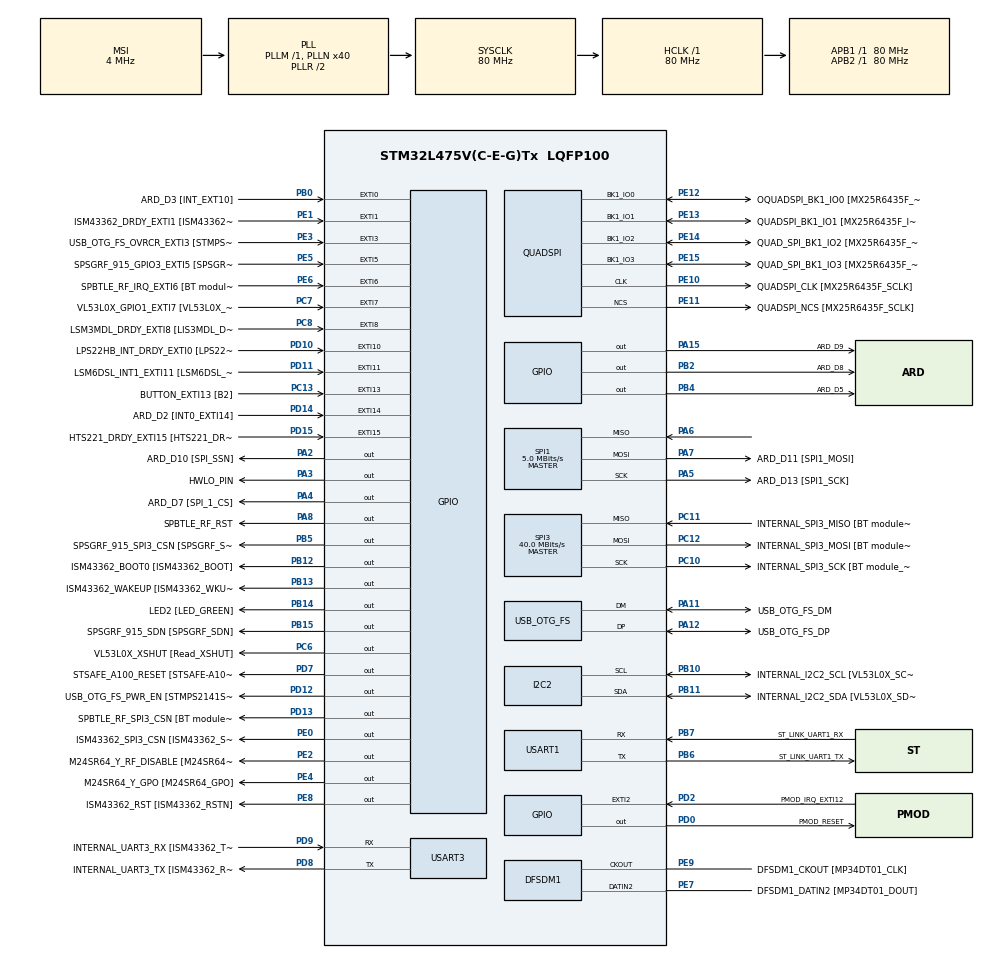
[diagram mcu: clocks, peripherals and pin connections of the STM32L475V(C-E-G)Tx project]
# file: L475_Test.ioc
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I2C2.Timing=0x10909CEC
Mcu.Family=STM32L4
Mcu.Name=STM32L475V(C-E-G)Tx
Mcu.Package=LQFP100
NVIC.EXTI15_10_IRQn=true\:0\:0\:false\:false\:true\:true\:true\:true
NVIC.EXTI9_5_IRQn=true\:0\:0\:false\:false\:true\:true\:true\:true
NVIC.PriorityGroup=NVIC_PRIORITYGROUP_4
NVIC.TIM3_IRQn=true\:0\:0\:false\:false\:true\:true\:true\:true
NVIC.TIM6_DAC_IRQn=true\:0\:0\:false\:false\:true\:true\:true\:true
NVIC.TIM7_IRQn=true\:0\:0\:false\:false\:true\:true\:true\:true
PA0.GPIO_Label=ARD_D1 [UART4_TX]
PA0.Signal=UART4_TX
PA1.GPIO_Label=ARD_D0 [UART4_RX]
PA1.Signal=UART4_RX
PA10.GPIO_Label=USB_OTG_FS_ID
PA10.Signal=USB_OTG_FS_ID
PA11.GPIO_Label=USB_OTG_FS_DM
PA11.Mode=Device_Only
PA11.Signal=USB_OTG_FS_DM
PA12.GPIO_Label=USB_OTG_FS_DP
PA12.Mode=Device_Only
PA12.Signal=USB_OTG_FS_DP
PA13\ (JTMS-SWDIO).GPIO_Label=SYS_JTMS_SWDIO
PA13\ (JTMS-SWDIO).Mode=Serial_Wire
PA13\ (JTMS-SWDIO).Signal=SYS_JTMS-SWDIO
PA14\ (JTCK-SWCLK).GPIO_Label=SYS_JTCK_SWCLK
PA14\ (JTCK-SWCLK).Mode=Serial_Wire
PA14\ (JTCK-SWCLK).Signal=SYS_JTCK-SWCLK
PA15\ (JTDI).GPIO_Label=ARD_D9
PA15\ (JTDI).Signal=GPIO_Output
PA2.GPIO_Label=ARD_D10 [SPI_SSN]
PA2.Signal=GPIO_Output
PA3.GPIO_Label=HWLO_PIN
PA3.Signal=GPIO_Output
PA4.GPIO_Label=ARD_D7 [SPI_1_CS]
PA4.GPIO_Speed=GPIO_SPEED_FREQ_VERY_HIGH
PA4.Signal=GPIO_Output
PA5.GPIO_Label=ARD_D13 [SPI1_SCK]
PA5.Mode=Full_Duplex_Master
PA5.Signal=SPI1_SCK
PA6.Mode=Full_Duplex_Master
PA6.Signal=SPI1_MISO
PA7.GPIO_Label=ARD_D11 [SPI1_MOSI]
PA7.Mode=Full_Duplex_Master
PA7.Signal=SPI1_MOSI
PA8.GPIO_Label=SPBTLE_RF_RST
PA8.Signal=GPIO_Output
PA9.GPIO_Label=USB_OTG_FS_VBUS [STMPS2141STR_OUT]
PA9.Signal=USB_OTG_FS_VBUS
PB0.GPIO_Label=ARD_D3 [INT_EXT10]
PB0.Signal=GPXTI0
PB1.GPIO_Label=ARD_D6 [ADC1_IN6]
PB1.Signal=ADCx_IN16
PB10.GPIO_Label=INTERNAL_I2C2_SCL [VL53L0X_SCL]
PB10.GPIO_Pu=GPIO_PULLUP
PB10.Mode=I2C
PB10.Signal=I2C2_SCL
PB11.GPIO_Label=INTERNAL_I2C2_SDA [VL53L0X_SDA]
PB11.GPIO_Pu=GPIO_PULLUP
PB11.Mode=I2C
PB11.Signal=I2C2_SDA
PB12.GPIO_Label=ISM43362_BOOT0 [ISM43362_BOOT]
PB12.Signal=GPIO_Output
PB13.GPIO_Label=ISM43362_WAKEUP [ISM43362_WKUP]
PB13.Signal=GPIO_Output
PB14.GPIO_Label=LED2 [LED_GREEN]
PB14.Signal=GPIO_Output
PB15.GPIO_Label=SPSGRF_915_SDN [SPSGRF_SDN]
PB15.Signal=GPIO_Output
PB2.GPIO_Label=ARD_D8
PB2.Signal=GPIO_Output
PB3\ (JTDO-TRACESWO).GPIO_Label=SYS_JTD0_SWO
PB3\ (JTDO-TRACESWO).Signal=SYS_JTDO-SWO
PB4\ (NJTRST).GPIO_Label=ARD_D5
PB4\ (NJTRST).Signal=GPIO_Output
PB5.GPIO_Label=SPSGRF_915_SPI3_CSN [SPSGRF_SPI_CS]
PB5.PinState=GPIO_PIN_SET
PB5.Signal=GPIO_Output
PB6.GPIO_Label=ST_LINK_UART1_TX
PB6.Mode=Asynchronous
PB6.Signal=USART1_TX
PB7.GPIO_Label=ST_LINK_UART1_RX
PB7.Mode=Asynchronous
PB7.Signal=USART1_RX
PB8.GPIO_Label=ARD_D15 [I2C1_SCL]
PB8.Signal=I2C1_SCL
PB9.GPIO_Label=ARD_D14 [I2C1_SDA]
PB9.Signal=I2C1_SDA
PC0.GPIO_Label=ARD_A5 [ADC]
PC0.Signal=ADCx_IN1
PC1.GPIO_Label=ARD_A4 [ADC]
PC1.Signal=ADCx_IN2
PC10.GPIO_Label=INTERNAL_SPI3_SCK [BT module_SPI_SCLK] [ISM43362_SCK]
PC10.Mode=Full_Duplex_Master
PC10.Signal=SPI3_SCK
PC11.GPIO_Label=INTERNAL_SPI3_MISO [BT module_SPI_MISO] [ISM43362_MISO]
PC11.Mode=Full_Duplex_Master
PC11.Signal=SPI3_MISO
PC12.GPIO_Label=INTERNAL_SPI3_MOSI [BT module_SPI_MOSI] [ISM43362_MOSI]
PC12.Mode=Full_Duplex_Master
PC12.Signal=SPI3_MOSI
PC13.GPIO_Label=BUTTON_EXTI13 [B2]
PC13.GPIO_ModeDefaultEXTI=GPIO_MODE_IT_FALLING
PC13.Signal=GPXTI13
PC14-OSC32_IN\ (PC14).Mode=LSE-External-Oscillator
PC14-OSC32_IN\ (PC14).Signal=RCC_OSC32_IN
PC15-OSC32_OUT\ (PC15).Mode=LSE-External-Oscillator
PC15-OSC32_OUT\ (PC15).Signal=RCC_OSC32_OUT
PC2.GPIO_Label=ARD_A3 [ADC]
PC2.Signal=ADCx_IN3
PC3.GPIO_Label=ARD_A2 [ADC]
PC3.Signal=ADCx_IN4
PC4.GPIO_Label=ARD_A1 [ADC]
PC4.Signal=ADCx_IN13
PC5.GPIO_Label=ARD_A0 [ADC]
PC5.Signal=ADCx_IN14
PC6.GPIO_Label=VL53L0X_XSHUT [Read_XSHUT]
PC6.Signal=GPIO_Output
PC7.GPIO_Label=VL53L0X_GPIO1_EXTI7 [VL53L0X_GPIO1]
PC7.Signal=GPXTI7
PC8.GPIO_Label=LSM3MDL_DRDY_EXTI8 [LIS3MDL_DRDY]
PC8.Signal=GPXTI8
PC9.Signal=S_TIM3_CH4
PD0.GPIO_Label=PMOD_RESET
PD0.Signal=GPIO_Output
PD1.GPIO_Label=PMOD_SPI2_SCK
PD1.Signal=SPI2_SCK
PD10.GPIO_Label=LPS22HB_INT_DRDY_EXTI0 [LPS22HB_INT_DRDY] 
PD10.Signal=GPXTI10
PD11.GPIO_Label=LSM6DSL_INT1_EXTI11 [LSM6DSL_INT1]
PD11.Signal=GPXTI11
PD12.GPIO_Label=USB_OTG_FS_PWR_EN [STMPS2141STR_EN]
PD12.Signal=GPIO_Output
PD13.GPIO_Label=SPBTLE_RF_SPI3_CSN [BT module_SPI_CS]
PD13.PinState=GPIO_PIN_SET
PD13.Signal=GPIO_Output
PD14.GPIO_Label=ARD_D2 [INT0_EXTI14]
PD14.Signal=GPXTI14
PD15.GPIO_Label=HTS221_DRDY_EXTI15 [HTS221_DRDY]
PD15.Signal=GPXTI15
PD2.GPIO_Label=PMOD_IRQ_EXTI12
PD2.Signal=GPXTI2
PD3.GPIO_Label=PMOD_UART2_CTS
PD3.Signal=USART2_CTS
PD4.GPIO_Label=PMOD_UART2_RTS
PD4.Signal=USART2_RTS
PD5.GPIO_Label=PMOD_UART2_TX
PD5.Signal=USART2_TX
PD6.GPIO_Label=PMOD_UART2_RX
PD6.Signal=USART2_RX
PD7.GPIO_Label=STSAFE_A100_RESET [STSAFE-A100_RESET]
PD7.Signal=GPIO_Output
PD8.GPIO_Label=INTERNAL_UART3_TX [ISM43362_RX]
PD8.Mode=Asynchronous
PD8.Signal=USART3_TX
PD9.GPIO_Label=INTERNAL_UART3_RX [ISM43362_TX]
PD9.Mode=Asynchronous
PD9.Signal=USART3_RX
PE0.GPIO_Label=ISM43362_SPI3_CSN [ISM43362_SSN]
PE0.PinState=GPIO_PIN_SET
PE0.Signal=GPIO_Output
PE1.GPIO_Label=ISM43362_DRDY_EXTI1 [ISM43362_DATARDY]
PE1.Signal=GPXTI1
PE10.GPIO_Label=QUADSPI_CLK [MX25R6435F_SCLK]
PE10.Mode=Single Bank
PE10.Signal=QUADSPI_CLK
PE11.GPIO_Label=QUADSPI_NCS [MX25R6435F_SCLK]
PE11.Mode=Single Bank
PE11.Signal=QUADSPI_NCS
PE12.GPIO_Label=OQUADSPI_BK1_IO0 [MX25R6435F_IO0]
PE12.Mode=Single Bank
PE12.Signal=QUADSPI_BK1_IO0
PE13.GPIO_Label=QUADSPI_BK1_IO1 [MX25R6435F_IO1]
PE13.Mode=Single Bank
PE13.Signal=QUADSPI_BK1_IO1
PE14.GPIO_Label=QUAD_SPI_BK1_IO2 [MX25R6435F_IO2]
PE14.Mode=Single Bank
PE14.Signal=QUADSPI_BK1_IO2
PE15.GPIO_Label=QUAD_SPI_BK1_IO3 [MX25R6435F_IO3]
PE15.Mode=Single Bank
PE15.Signal=QUADSPI_BK1_IO3
PE2.GPIO_Label=M24SR64_Y_RF_DISABLE [M24SR64_RFDIS]
PE2.Signal=GPIO_Output
PE3.GPIO_Label=USB_OTG_FS_OVRCR_EXTI3 [STMPS2141STR_FAULT]
PE3.Signal=GPXTI3
PE4.GPIO_Label=M24SR64_Y_GPO [M24SR64_GPO]
PE4.Signal=GPIO_Output
PE5.GPIO_Label=SPSGRF_915_GPIO3_EXTI5 [SPSGRF_GPIO_3]
PE5.Signal=GPXTI5
PE6.GPIO_Label=SPBTLE_RF_IRQ_EXTI6 [BT module_SPI_IRQ]
PE6.Signal=GPXTI6
PE7.GPIO_Label=DFSDM1_DATIN2 [MP34DT01_DOUT]
PE7.Signal=S_DATAIN2DFSDM1
PE8.GPIO_Label=ISM43362_RST [ISM43362_RSTN]
PE8.Signal=GPIO_Output
PE9.GPIO_Label=DFSDM1_CKOUT [MP34DT01_CLK]
PE9.Signal=S_CKOUTDFSDM1
ProjectManager.HeapSize=0x200
ProjectManager.StackSize=0x400
ProjectManager.TargetToolchain=STM32CubeIDE
QUADSPI.ClockPrescaler=2
QUADSPI.FifoThreshold=4
QUADSPI.FlashSize=23
QUADSPI.SampleShifting=QSPI_SAMPLE_SHIFTING_HALFCYCLE
RCC.ADCFreq_Value=48000000
RCC.AHBFreq_Value=80000000
RCC.APB1Freq_Value=80000000
RCC.APB1TimFreq_Value=80000000
RCC.APB2Freq_Value=80000000
RCC.APB2TimFreq_Value=80000000
RCC.CortexFreq_Value=80000000
RCC.HCLKFreq_Value=80000000
RCC.HSE_VALUE=8000000
RCC.HSI_VALUE=16000000
RCC.MSI_VALUE=4000000
RCC.PLLN=40
RCC.PLLSAI1N=24
RCC.SYSCLKFreq_VALUE=80000000
RCC.SYSCLKSource=RCC_SYSCLKSOURCE_PLLCLK
RCC.USBFreq_Value=48000000
RCC.VCOOutputFreq_Value=160000000
SH.ADCx_IN1.0=ADC1_IN1
SH.ADCx_IN13.0=ADC1_IN13
SH.ADCx_IN14.0=ADC1_IN14
SH.ADCx_IN16.0=ADC1_IN16
SH.ADCx_IN2.0=ADC1_IN2
SH.ADCx_IN3.0=ADC1_IN3
SH.ADCx_IN4.0=ADC1_IN4
SH.S_CKOUTDFSDM1.0=DFSDM1_CKOUT,CKOUT
SH.S_CKOUTDFSDM1.1=DFSDM1_CKOUT,PDM_SPI_Input_from_ch12_and_Internal_Clock
SH.S_DATAIN2DFSDM1.0=DFSDM1_DATIN2,PDM_SPI_Input_from_ch12_and_Internal_Clock
SH.S_TIM3_CH4.0=TIM3_CH4
SPI1.BaudRatePrescaler=SPI_BAUDRATEPRESCALER_16
SPI1.CalculateBaudRate=5.0 MBits/s
SPI1.DataSize=SPI_DATASIZE_8BIT
SPI1.Direction=SPI_DIRECTION_2LINES
SPI1.Mode=SPI_MODE_MASTER
SPI1.NSSPMode=SPI_NSS_PULSE_DISABLE
SPI1.VirtualType=VM_MASTER
SPI3.CalculateBaudRate=40.0 MBits/s
SPI3.Direction=SPI_DIRECTION_2LINES
SPI3.Mode=SPI_MODE_MASTER
SPI3.VirtualType=VM_MASTER
TIM3.Period=99
TIM3.Prescaler=0
TIM4.Channel-PWM\ Generation4\ CH4=TIM_CHANNEL_4
TIM6.Period=9999
TIM6.Prescaler=7999
TIM7.Period=999
TIM7.Prescaler=7999
USART1.VirtualMode-Asynchronous=VM_ASYNC
USART3.VirtualMode-Asynchronous=VM_ASYNC
USB_OTG_FS.VirtualMode=Device_Only
VP_TIM3_VS_ClockSourceINT.Mode=Internal
VP_TIM4_VS_ClockSourceINT.Mode=Internal
VP_TIM6_VS_ClockSourceINT.Mode=Enable_Timer
VP_TIM7_VS_ClockSourceINT.Mode=Enable_Timer
board=B-L475E-IOT01A2

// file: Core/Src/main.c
/* USER CODE BEGIN Header */
/**
  ******************************************************************************
  * @file           : main.c
  * @brief          : Main program body
  ******************************************************************************
  * @attention
  *
  * Copyright (c) 2023 STMicroelectronics.
  * All rights reserved.
  *
  * This software is licensed under terms that can be found in the LICENSE file
  * in the root directory of this software component.
  * If no LICENSE file comes with this software, it is provided AS-IS.
  *
  ******************************************************************************
  */
/* USER CODE END Header */
#include "main.h"

/* USER CODE BEGIN Includes */
#include <string.h>
#include "ws2812b.h"
#include "vnf1048.h"
/* USER CODE END Includes */

DFSDM_Channel_HandleTypeDef hdfsdm1_channel1;

I2C_HandleTypeDef hi2c2;

QSPI_HandleTypeDef hqspi;

SPI_HandleTypeDef hspi1;
SPI_HandleTypeDef hspi3;

TIM_HandleTypeDef htim3;
TIM_HandleTypeDef htim4;
TIM_HandleTypeDef htim6;
TIM_HandleTypeDef htim7;

UART_HandleTypeDef huart1;
UART_HandleTypeDef huart3;

PCD_HandleTypeDef hpcd_USB_OTG_FS;

/* USER CODE BEGIN PV */
#ifdef __GNUC__
#define PUTCHAR_PROTOTYPE int __io_putchar(int ch)
#else
#define PUTCHAR_PROTOTYPE int fputc(int ch, FILE *f)
#endif

PUTCHAR_PROTOTYPE
{
    HAL_UART_Transmit(&huart1, (uint8_t *)&ch, 1, HAL_MAX_DELAY);
    return ch;
}
/* USER CODE END PV */

void SystemClock_Config(void);
static void MX_GPIO_Init(void);
static void MX_DFSDM1_Init(void);
static void MX_I2C2_Init(void);
static void MX_QUADSPI_Init(void);
static void MX_SPI3_Init(void);
static void MX_USART1_UART_Init(void);
static void MX_USART3_UART_Init(void);
static void MX_USB_OTG_FS_PCD_Init(void);
static void MX_TIM6_Init(void);
static void MX_TIM3_Init(void);
static void MX_TIM4_Init(void);
static void MX_SPI1_Init(void);
static void MX_TIM7_Init(void);
/* USER CODE BEGIN PFP */
/* VNF declaration */
VNF1048_HandleTypeDef vnf1;
/* USER CODE END PFP */

/* USER CODE BEGIN 0 */

void HAL_TIM_PeriodElapsedCallback(TIM_HandleTypeDef* tim_handle)
{
    if(tim_handle == &htim7)
    {
        vnf_toggle_wdg(&vnf1);
    }
}

uint8_t important_data_t1[4];
uint8_t important_data_t2[4];
/* USER CODE END 0 */

int main(void)
{

  /* MCU Configuration--------------------------------------------------------*/

  /* Reset of all peripherals, Initializes the Flash interface and the Systick. */
  HAL_Init();

  /* Configure the system clock */
  SystemClock_Config();

  /* Initialize all configured peripherals */
  MX_GPIO_Init();
  MX_DFSDM1_Init();
  MX_I2C2_Init();
  MX_QUADSPI_Init();
  MX_SPI3_Init();
  MX_USART1_UART_Init();
  MX_USART3_UART_Init();
  MX_USB_OTG_FS_PCD_Init();
  MX_TIM6_Init();
  MX_TIM3_Init();
  MX_TIM4_Init();
  MX_SPI1_Init();
  MX_TIM7_Init();
  /* USER CODE BEGIN 2 */
  //HAL_TIM_Base_Start_IT(&htim6);
  //HAL_TIM_PWM_Start(&htim3, TIM_CHANNEL_4);
  //HAL_TIM_Base_Start_IT(&htim2);
  printf("\n ========== VNF1048 - TEST ========== \n");

  vnf1.hspi_vnf = &hspi1;
  vnf1.CS_Port = ARD_D7_GPIO_Port;
  vnf1.CS_Pin = ARD_D7_Pin;
  vnf1.HWLO_Pin = HWLO_PIN_Pin;
  vnf1.HWLO_Port = HWLO_PIN_GPIO_Port;
  vnf1.wd_tim = &htim7;
  vnf_init(&vnf1);

  uint8_t res[4];

 /* for(int i=VNF_STATUS_REGISTER_1; i  < VNF_STATUS_REGISTER_8; i++)
  {
      HAL_Delay(1000);
      vnf_read_reg(&vnf1, i, res);
      vnf_helper_print_data(i, res);
  }*/
  /* USER CODE END 2 */

  /* Infinite loop */
  /* USER CODE BEGIN WHILE */
    while (1)
    {
        printf("=== \n");

        for(int i=0x00; i < 0x06; i++)
        {
            vnf_read_rom(&vnf1, i, res);
            vnf_helper_print_data(i, res);
            HAL_Delay(957);
        }

        for(int i=0x0A; i <= 0x14; i++)
        {
            if(i == 0x12)
            {
                continue;
            }
            vnf_read_rom(&vnf1, i, res);
            vnf_helper_print_data(i, res);
            HAL_Delay(956);
        }

    /* USER CODE END WHILE *
     *
    }
}

void SystemClock_Config(void)
{
  RCC_OscInitTypeDef RCC_OscInitStruct = {0};
  RCC_ClkInitTypeDef RCC_ClkInitStruct = {0};

  /** Configure the main internal regulator output voltage
  */
  if (HAL_PWREx_ControlVoltageScaling(PWR_REGULATOR_VOLTAGE_SCALE1) != HAL_OK)
  {
    Error_Handler();
  }

  /** Configure LSE Drive Capability
  */
  HAL_PWR_EnableBkUpAccess();
  __HAL_RCC_LSEDRIVE_CONFIG(RCC_LSEDRIVE_LOW);

  /** Initializes the RCC Oscillators according to the specified parameters
  * in the RCC_OscInitTypeDef structure.
  */
  RCC_OscInitStruct.OscillatorType = RCC_OSCILLATORTYPE_LSE|RCC_OSCILLATORTYPE_MSI;
  RCC_OscInitStruct.LSEState = RCC_LSE_ON;
  RCC_OscInitStruct.MSIState = RCC_MSI_ON;
  RCC_OscInitStruct.MSICalibrationValue = 0;
  RCC_OscInitStruct.MSIClockRange = RCC_MSIRANGE_6;
  RCC_OscInitStruct.PLL.PLLState = RCC_PLL_ON;
  RCC_OscInitStruct.PLL.PLLSource = RCC_PLLSOURCE_MSI;
  RCC_OscInitStruct.PLL.PLLM = 1;
  RCC_OscInitStruct.PLL.PLLN = 40;
  RCC_OscInitStruct.PLL.PLLP = RCC_PLLP_DIV7;
  RCC_OscInitStruct.PLL.PLLQ = RCC_PLLQ_DIV2;
  RCC_OscInitStruct.PLL.PLLR = RCC_PLLR_DIV2;
  if (HAL_RCC_OscConfig(&RCC_OscInitStruct) != HAL_OK)
  {
    Error_Handler();
  }

  /** Initializes the CPU, AHB and APB buses clocks
  */
  RCC_ClkInitStruct.ClockType = RCC_CLOCKTYPE_HCLK|RCC_CLOCKTYPE_SYSCLK
                              |RCC_CLOCKTYPE_PCLK1|RCC_CLOCKTYPE_PCLK2;
  RCC_ClkInitStruct.SYSCLKSource = RCC_SYSCLKSOURCE_PLLCLK;
  RCC_ClkInitStruct.AHBCLKDivider = RCC_SYSCLK_DIV1;
  RCC_ClkInitStruct.APB1CLKDivider = RCC_HCLK_DIV1;
  RCC_ClkInitStruct.APB2CLKDivider = RCC_HCLK_DIV1;

  if (HAL_RCC_ClockConfig(&RCC_ClkInitStruct, FLASH_LATENCY_4) != HAL_OK)
  {
    Error_Handler();
  }

  /** Enable MSI Auto calibration
  */
  HAL_RCCEx_EnableMSIPLLMode();
}

static void MX_DFSDM1_Init(void)
{

  hdfsdm1_channel1.Instance = DFSDM1_Channel1;
  hdfsdm1_channel1.Init.OutputClock.Activation = ENABLE;
  hdfsdm1_channel1.Init.OutputClock.Selection = DFSDM_CHANNEL_OUTPUT_CLOCK_SYSTEM;
  hdfsdm1_channel1.Init.OutputClock.Divider = 2;
  hdfsdm1_channel1.Init.Input.Multiplexer = DFSDM_CHANNEL_EXTERNAL_INPUTS;
  hdfsdm1_channel1.Init.Input.DataPacking = DFSDM_CHANNEL_STANDARD_MODE;
  hdfsdm1_channel1.Init.Input.Pins = DFSDM_CHANNEL_FOLLOWING_CHANNEL_PINS;
  hdfsdm1_channel1.Init.SerialInterface.Type = DFSDM_CHANNEL_SPI_RISING;
  hdfsdm1_channel1.Init.SerialInterface.SpiClock = DFSDM_CHANNEL_SPI_CLOCK_INTERNAL;
  hdfsdm1_channel1.Init.Awd.FilterOrder = DFSDM_CHANNEL_FASTSINC_ORDER;
  hdfsdm1_channel1.Init.Awd.Oversampling = 1;
  hdfsdm1_channel1.Init.Offset = 0;
  hdfsdm1_channel1.Init.RightBitShift = 0x00;
  if (HAL_DFSDM_ChannelInit(&hdfsdm1_channel1) != HAL_OK)
  {
    Error_Handler();
  }

}

static void MX_I2C2_Init(void)
{

  hi2c2.Instance = I2C2;
  hi2c2.Init.Timing = 0x10909CEC;
  hi2c2.Init.OwnAddress1 = 0;
  hi2c2.Init.AddressingMode = I2C_ADDRESSINGMODE_7BIT;
  hi2c2.Init.DualAddressMode = I2C_DUALADDRESS_DISABLE;
  hi2c2.Init.OwnAddress2 = 0;
  hi2c2.Init.OwnAddress2Masks = I2C_OA2_NOMASK;
  hi2c2.Init.GeneralCallMode = I2C_GENERALCALL_DISABLE;
  hi2c2.Init.NoStretchMode = I2C_NOSTRETCH_DISABLE;
  if (HAL_I2C_Init(&hi2c2) != HAL_OK)
  {
    Error_Handler();
  }

  /** Configure Analogue filter
  */
  if (HAL_I2CEx_ConfigAnalogFilter(&hi2c2, I2C_ANALOGFILTER_ENABLE) != HAL_OK)
  {
    Error_Handler();
  }

  /** Configure Digital filter
  */
  if (HAL_I2CEx_ConfigDigitalFilter(&hi2c2, 0) != HAL_OK)
  {
    Error_Handler();
  }

}

static void MX_QUADSPI_Init(void)
{

  /* QUADSPI parameter configuration*/
  hqspi.Instance = QUADSPI;
  hqspi.Init.ClockPrescaler = 2;
  hqspi.Init.FifoThreshold = 4;
  hqspi.Init.SampleShifting = QSPI_SAMPLE_SHIFTING_HALFCYCLE;
  hqspi.Init.FlashSize = 23;
  hqspi.Init.ChipSelectHighTime = QSPI_CS_HIGH_TIME_1_CYCLE;
  hqspi.Init.ClockMode = QSPI_CLOCK_MODE_0;
  if (HAL_QSPI_Init(&hqspi) != HAL_OK)
  {
    Error_Handler();
  }

}

static void MX_SPI1_Init(void)
{

  /* SPI1 parameter configuration*/
  hspi1.Instance = SPI1;
  hspi1.Init.Mode = SPI_MODE_MASTER;
  hspi1.Init.Direction = SPI_DIRECTION_2LINES;
  hspi1.Init.DataSize = SPI_DATASIZE_8BIT;
  hspi1.Init.CLKPolarity = SPI_POLARITY_LOW;
  hspi1.Init.CLKPhase = SPI_PHASE_1EDGE;
  hspi1.Init.NSS = SPI_NSS_SOFT;
  hspi1.Init.BaudRatePrescaler = SPI_BAUDRATEPRESCALER_16;
  hspi1.Init.FirstBit = SPI_FIRSTBIT_MSB;
  hspi1.Init.TIMode = SPI_TIMODE_DISABLE;
  hspi1.Init.CRCCalculation = SPI_CRCCALCULATION_DISABLE;
  hspi1.Init.CRCPolynomial = 7;
  hspi1.Init.CRCLength = SPI_CRC_LENGTH_DATASIZE;
  hspi1.Init.NSSPMode = SPI_NSS_PULSE_DISABLE;
  if (HAL_SPI_Init(&hspi1) != HAL_OK)
  {
    Error_Handler();
  }

}

static void MX_SPI3_Init(void)
{

  /* SPI3 parameter configuration*/
  hspi3.Instance = SPI3;
  hspi3.Init.Mode = SPI_MODE_MASTER;
  hspi3.Init.Direction = SPI_DIRECTION_2LINES;
  hspi3.Init.DataSize = SPI_DATASIZE_4BIT;
  hspi3.Init.CLKPolarity = SPI_POLARITY_LOW;
  hspi3.Init.CLKPhase = SPI_PHASE_1EDGE;
  hspi3.Init.NSS = SPI_NSS_SOFT;
  hspi3.Init.BaudRatePrescaler = SPI_BAUDRATEPRESCALER_2;
  hspi3.Init.FirstBit = SPI_FIRSTBIT_MSB;
  hspi3.Init.TIMode = SPI_TIMODE_DISABLE;
  hspi3.Init.CRCCalculation = SPI_CRCCALCULATION_DISABLE;
  hspi3.Init.CRCPolynomial = 7;
  hspi3.Init.CRCLength = SPI_CRC_LENGTH_DATASIZE;
  hspi3.Init.NSSPMode = SPI_NSS_PULSE_ENABLE;
  if (HAL_SPI_Init(&hspi3) != HAL_OK)
  {
    Error_Handler();
  }

}

static void MX_TIM3_Init(void)
{

  TIM_ClockConfigTypeDef sClockSourceConfig = {0};
  TIM_MasterConfigTypeDef sMasterConfig = {0};

  htim3.Instance = TIM3;
  htim3.Init.Prescaler = 0;
  htim3.Init.CounterMode = TIM_COUNTERMODE_UP;
  htim3.Init.Period = 99;
  htim3.Init.ClockDivision = TIM_CLOCKDIVISION_DIV1;
  htim3.Init.AutoReloadPreload = TIM_AUTORELOAD_PRELOAD_DISABLE;
  if (HAL_TIM_Base_Init(&htim3) != HAL_OK)
  {
    Error_Handler();
  }
  sClockSourceConfig.ClockSource = TIM_CLOCKSOURCE_INTERNAL;
  if (HAL_TIM_ConfigClockSource(&htim3, &sClockSourceConfig) != HAL_OK)
  {
    Error_Handler();
  }
  sMasterConfig.MasterOutputTrigger = TIM_TRGO_RESET;
  sMasterConfig.MasterSlaveMode = TIM_MASTERSLAVEMODE_DISABLE;
  if (HAL_TIMEx_MasterConfigSynchronization(&htim3, &sMasterConfig) != HAL_OK)
  {
    Error_Handler();
  }

}

static void MX_TIM4_Init(void)
{

  TIM_ClockConfigTypeDef sClockSourceConfig = {0};
  TIM_MasterConfigTypeDef sMasterConfig = {0};

  htim4.Instance = TIM4;
  htim4.Init.Prescaler = 0;
  htim4.Init.CounterMode = TIM_COUNTERMODE_UP;
  htim4.Init.Period = 65535;
  htim4.Init.ClockDivision = TIM_CLOCKDIVISION_DIV1;
  htim4.Init.AutoReloadPreload = TIM_AUTORELOAD_PRELOAD_DISABLE;
  if (HAL_TIM_Base_Init(&htim4) != HAL_OK)
  {
    Error_Handler();
  }
  sClockSourceConfig.ClockSource = TIM_CLOCKSOURCE_INTERNAL;
  if (HAL_TIM_ConfigClockSource(&htim4, &sClockSourceConfig) != HAL_OK)
  {
    Error_Handler();
  }
  sMasterConfig.MasterOutputTrigger = TIM_TRGO_RESET;
  sMasterConfig.MasterSlaveMode = TIM_MASTERSLAVEMODE_DISABLE;
  if (HAL_TIMEx_MasterConfigSynchronization(&htim4, &sMasterConfig) != HAL_OK)
  {
    Error_Handler();
  }

}

static void MX_TIM6_Init(void)
{

  TIM_MasterConfigTypeDef sMasterConfig = {0};

  htim6.Instance = TIM6;
  htim6.Init.Prescaler = 7999;
  htim6.Init.CounterMode = TIM_COUNTERMODE_UP;
  htim6.Init.Period = 9999;
  htim6.Init.AutoReloadPreload = TIM_AUTORELOAD_PRELOAD_DISABLE;
  if (HAL_TIM_Base_Init(&htim6) != HAL_OK)
  {
    Error_Handler();
  }
  sMasterConfig.MasterOutputTrigger = TIM_TRGO_RESET;
  sMasterConfig.MasterSlaveMode = TIM_MASTERSLAVEMODE_DISABLE;
  if (HAL_TIMEx_MasterConfigSynchronization(&htim6, &sMasterConfig) != HAL_OK)
  {
    Error_Handler();
  }

}

static void MX_TIM7_Init(void)
{

  TIM_MasterConfigTypeDef sMasterConfig = {0};

  htim7.Instance = TIM7;
  htim7.Init.Prescaler = 7999;
  htim7.Init.CounterMode = TIM_COUNTERMODE_UP;
  htim7.Init.Period = 999;
  htim7.Init.AutoReloadPreload = TIM_AUTORELOAD_PRELOAD_DISABLE;
  if (HAL_TIM_Base_Init(&htim7) != HAL_OK)
  {
    Error_Handler();
  }
  sMasterConfig.MasterOutputTrigger = TIM_TRGO_RESET;
  sMasterConfig.MasterSlaveMode = TIM_MASTERSLAVEMODE_DISABLE;
  if (HAL_TIMEx_MasterConfigSynchronization(&htim7, &sMasterConfig) != HAL_OK)
  {
    Error_Handler();
  }

}

static void MX_USART1_UART_Init(void)
{

  huart1.Instance = USART1;
  huart1.Init.BaudRate = 115200;
  huart1.Init.WordLength = UART_WORDLENGTH_8B;
  huart1.Init.StopBits = UART_STOPBITS_1;
  huart1.Init.Parity = UART_PARITY_NONE;
  huart1.Init.Mode = UART_MODE_TX_RX;
  huart1.Init.HwFlowCtl = UART_HWCONTROL_NONE;
  huart1.Init.OverSampling = UART_OVERSAMPLING_16;
  huart1.Init.OneBitSampling = UART_ONE_BIT_SAMPLE_DISABLE;
  huart1.AdvancedInit.AdvFeatureInit = UART_ADVFEATURE_NO_INIT;
  if (HAL_UART_Init(&huart1) != HAL_OK)
  {
    Error_Handler();
  }

}

static void MX_USART3_UART_Init(void)
{

  huart3.Instance = USART3;
  huart3.Init.BaudRate = 115200;
  huart3.Init.WordLength = UART_WORDLENGTH_8B;
  huart3.Init.StopBits = UART_STOPBITS_1;
  huart3.Init.Parity = UART_PARITY_NONE;
  huart3.Init.Mode = UART_MODE_TX_RX;
  huart3.Init.HwFlowCtl = UART_HWCONTROL_NONE;
  huart3.Init.OverSampling = UART_OVERSAMPLING_16;
  huart3.Init.OneBitSampling = UART_ONE_BIT_SAMPLE_DISABLE;
  huart3.AdvancedInit.AdvFeatureInit = UART_ADVFEATURE_NO_INIT;
  if (HAL_UART_Init(&huart3) != HAL_OK)
  {
    Error_Handler();
  }

}

static void MX_USB_OTG_FS_PCD_Init(void)
{

  hpcd_USB_OTG_FS.Instance = USB_OTG_FS;
  hpcd_USB_OTG_FS.Init.dev_endpoints = 6;
  hpcd_USB_OTG_FS.Init.speed = PCD_SPEED_FULL;
  hpcd_USB_OTG_FS.Init.phy_itface = PCD_PHY_EMBEDDED;
  hpcd_USB_OTG_FS.Init.Sof_enable = DISABLE;
  hpcd_USB_OTG_FS.Init.low_power_enable = DISABLE;
  hpcd_USB_OTG_FS.Init.lpm_enable = DISABLE;
  hpcd_USB_OTG_FS.Init.battery_charging_enable = DISABLE;
  hpcd_USB_OTG_FS.Init.use_dedicated_ep1 = DISABLE;
  hpcd_USB_OTG_FS.Init.vbus_sensing_enable = DISABLE;
  if (HAL_PCD_Init(&hpcd_USB_OTG_FS) != HAL_OK)
  {
    Error_Handler();
  }

}

static void MX_GPIO_Init(void)
{
  GPIO_InitTypeDef GPIO_InitStruct = {0};

  /* GPIO Ports Clock Enable */
  __HAL_RCC_GPIOE_CLK_ENABLE();
  __HAL_RCC_GPIOC_CLK_ENABLE();
  __HAL_RCC_GPIOA_CLK_ENABLE();
  __HAL_RCC_GPIOB_CLK_ENABLE();
  __HAL_RCC_GPIOD_CLK_ENABLE();

  /*Configure GPIO pin Output Level */
  HAL_GPIO_WritePin(GPIOE, M24SR64_Y_RF_DISABLE_Pin|M24SR64_Y_GPO_Pin|ISM43362_RST_Pin, GPIO_PIN_RESET);

  /*Configure GPIO pin Output Level */
  HAL_GPIO_WritePin(GPIOA, ARD_D10_Pin|HWLO_PIN_Pin|ARD_D7_Pin|SPBTLE_RF_RST_Pin
                          |ARD_D9_Pin, GPIO_PIN_RESET);

  /*Configure GPIO pin Output Level */
  HAL_GPIO_WritePin(GPIOB, ARD_D8_Pin|ISM43362_BOOT0_Pin|ISM43362_WAKEUP_Pin|LED2_Pin
                          |SPSGRF_915_SDN_Pin|ARD_D5_Pin, GPIO_PIN_RESET);

  /*Configure GPIO pin Output Level */
  HAL_GPIO_WritePin(GPIOD, USB_OTG_FS_PWR_EN_Pin|PMOD_RESET_Pin|STSAFE_A100_RESET_Pin, GPIO_PIN_RESET);

  /*Configure GPIO pin Output Level */
  HAL_GPIO_WritePin(SPBTLE_RF_SPI3_CSN_GPIO_Port, SPBTLE_RF_SPI3_CSN_Pin, GPIO_PIN_SET);

  /*Configure GPIO pin Output Level */
  HAL_GPIO_WritePin(VL53L0X_XSHUT_GPIO_Port, VL53L0X_XSHUT_Pin, GPIO_PIN_RESET);

  /*Configure GPIO pin Output Level */
  HAL_GPIO_WritePin(SPSGRF_915_SPI3_CSN_GPIO_Port, SPSGRF_915_SPI3_CSN_Pin, GPIO_PIN_SET);

  /*Configure GPIO pin Output Level */
  HAL_GPIO_WritePin(ISM43362_SPI3_CSN_GPIO_Port, ISM43362_SPI3_CSN_Pin, GPIO_PIN_SET);

  /*Configure GPIO pins : M24SR64_Y_RF_DISABLE_Pin M24SR64_Y_GPO_Pin ISM43362_RST_Pin ISM43362_SPI3_CSN_Pin */
  GPIO_InitStruct.Pin = M24SR64_Y_RF_DISABLE_Pin|M24SR64_Y_GPO_Pin|ISM43362_RST_Pin|ISM43362_SPI3_CSN_Pin;
  GPIO_InitStruct.Mode = GPIO_MODE_OUTPUT_PP;
  GPIO_InitStruct.Pull = GPIO_NOPULL;
  GPIO_InitStruct.Speed = GPIO_SPEED_FREQ_LOW;
  HAL_GPIO_Init(GPIOE, &GPIO_InitStruct);

  /*Configure GPIO pins : USB_OTG_FS_OVRCR_EXTI3_Pin SPSGRF_915_GPIO3_EXTI5_Pin SPBTLE_RF_IRQ_EXTI6_Pin ISM43362_DRDY_EXTI1_Pin */
  GPIO_InitStruct.Pin = USB_OTG_FS_OVRCR_EXTI3_Pin|SPSGRF_915_GPIO3_EXTI5_Pin|SPBTLE_RF_IRQ_EXTI6_Pin|ISM43362_DRDY_EXTI1_Pin;
  GPIO_InitStruct.Mode = GPIO_MODE_IT_RISING;
  GPIO_InitStruct.Pull = GPIO_NOPULL;
  HAL_GPIO_Init(GPIOE, &GPIO_InitStruct);

  /*Configure GPIO pin : BUTTON_EXTI13_Pin */
  GPIO_InitStruct.Pin = BUTTON_EXTI13_Pin;
  GPIO_InitStruct.Mode = GPIO_MODE_IT_FALLING;
  GPIO_InitStruct.Pull = GPIO_NOPULL;
  HAL_GPIO_Init(BUTTON_EXTI13_GPIO_Port, &GPIO_InitStruct);

  /*Configure GPIO pins : ARD_A5_Pin ARD_A4_Pin ARD_A3_Pin ARD_A2_Pin
                           ARD_A1_Pin ARD_A0_Pin */
  GPIO_InitStruct.Pin = ARD_A5_Pin|ARD_A4_Pin|ARD_A3_Pin|ARD_A2_Pin
                          |ARD_A1_Pin|ARD_A0_Pin;
  GPIO_InitStruct.Mode = GPIO_MODE_ANALOG_ADC_CONTROL;
  GPIO_InitStruct.Pull = GPIO_NOPULL;
  HAL_GPIO_Init(GPIOC, &GPIO_InitStruct);

  /*Configure GPIO pins : ARD_D1_Pin ARD_D0_Pin */
  GPIO_InitStruct.Pin = ARD_D1_Pin|ARD_D0_Pin;
  GPIO_InitStruct.Mode = GPIO_MODE_AF_PP;
  GPIO_InitStruct.Pull = GPIO_NOPULL;
  GPIO_InitStruct.Speed = GPIO_SPEED_FREQ_VERY_HIGH;
  GPIO_InitStruct.Alternate = GPIO_AF8_UART4;
  HAL_GPIO_Init(GPIOA, &GPIO_InitStruct);

  /*Configure GPIO pins : ARD_D10_Pin HWLO_PIN_Pin SPBTLE_RF_RST_Pin ARD_D9_Pin */
  GPIO_InitStruct.Pin = ARD_D10_Pin|HWLO_PIN_Pin|SPBTLE_RF_RST_Pin|ARD_D9_Pin;
  GPIO_InitStruct.Mode = GPIO_MODE_OUTPUT_PP;
  GPIO_InitStruct.Pull = GPIO_NOPULL;
  GPIO_InitStruct.Speed = GPIO_SPEED_FREQ_LOW;
  HAL_GPIO_Init(GPIOA, &GPIO_InitStruct);

  /*Configure GPIO pin : ARD_D7_Pin */
  GPIO_InitStruct.Pin = ARD_D7_Pin;
  GPIO_InitStruct.Mode = GPIO_MODE_OUTPUT_PP;
  GPIO_InitStruct.Pull = GPIO_NOPULL;
  GPIO_InitStruct.Speed = GPIO_SPEED_FREQ_VERY_HIGH;
  HAL_GPIO_Init(ARD_D7_GPIO_Port, &GPIO_InitStruct);

  /*Configure GPIO pin : ARD_D3_Pin */
  GPIO_InitStruct.Pin = ARD_D3_Pin;
  GPIO_InitStruct.Mode = GPIO_MODE_IT_RISING;
  GPIO_InitStruct.Pull = GPIO_NOPULL;
  HAL_GPIO_Init(ARD_D3_GPIO_Port, &GPIO_InitStruct);

  /*Configure GPIO pin : ARD_D6_Pin */
  GPIO_InitStruct.Pin = ARD_D6_Pin;
  GPIO_InitStruct.Mode = GPIO_MODE_ANALOG_ADC_CONTROL;
  GPIO_InitStruct.Pull = GPIO_NOPULL;
  HAL_GPIO_Init(ARD_D6_GPIO_Port, &GPIO_InitStruct);

  /*Configure GPIO pins : ARD_D8_Pin ISM43362_BOOT0_Pin ISM43362_WAKEUP_Pin LED2_Pin
                           SPSGRF_915_SDN_Pin ARD_D5_Pin SPSGRF_915_SPI3_CSN_Pin */
  GPIO_InitStruct.Pin = ARD_D8_Pin|ISM43362_BOOT0_Pin|ISM43362_WAKEUP_Pin|LED2_Pin
                          |SPSGRF_915_SDN_Pin|ARD_D5_Pin|SPSGRF_915_SPI3_CSN_Pin;
  GPIO_InitStruct.Mode = GPIO_MODE_OUTPUT_PP;
  GPIO_InitStruct.Pull = GPIO_NOPULL;
  GPIO_InitStruct.Speed = GPIO_SPEED_FREQ_LOW;
  HAL_GPIO_Init(GPIOB, &GPIO_InitStruct);

  /*Configure GPIO pins : LPS22HB_INT_DRDY_EXTI0_Pin LSM6DSL_INT1_EXTI11_Pin ARD_D2_Pin HTS221_DRDY_EXTI15_Pin
                           PMOD_IRQ_EXTI12_Pin */
  GPIO_InitStruct.Pin = LPS22HB_INT_DRDY_EXTI0_Pin|LSM6DSL_INT1_EXTI11_Pin|ARD_D2_Pin|HTS221_DRDY_EXTI15_Pin
                          |PMOD_IRQ_EXTI12_Pin;
  GPIO_InitStruct.Mode = GPIO_MODE_IT_RISING;
  GPIO_InitStruct.Pull = GPIO_NOPULL;
  HAL_GPIO_Init(GPIOD, &GPIO_InitStruct);

  /*Configure GPIO pins : USB_OTG_FS_PWR_EN_Pin SPBTLE_RF_SPI3_CSN_Pin PMOD_RESET_Pin STSAFE_A100_RESET_Pin */
  GPIO_InitStruct.Pin = USB_OTG_FS_PWR_EN_Pin|SPBTLE_RF_SPI3_CSN_Pin|PMOD_RESET_Pin|STSAFE_A100_RESET_Pin;
  GPIO_InitStruct.Mode = GPIO_MODE_OUTPUT_PP;
  GPIO_InitStruct.Pull = GPIO_NOPULL;
  GPIO_InitStruct.Speed = GPIO_SPEED_FREQ_LOW;
  HAL_GPIO_Init(GPIOD, &GPIO_InitStruct);

  /*Configure GPIO pin : VL53L0X_XSHUT_Pin */
  GPIO_InitStruct.Pin = VL53L0X_XSHUT_Pin;
  GPIO_InitStruct.Mode = GPIO_MODE_OUTPUT_PP;
  GPIO_InitStruct.Pull = GPIO_NOPULL;
  GPIO_InitStruct.Speed = GPIO_SPEED_FREQ_LOW;
  HAL_GPIO_Init(VL53L0X_XSHUT_GPIO_Port, &GPIO_InitStruct);

  /*Configure GPIO pins : VL53L0X_GPIO1_EXTI7_Pin LSM3MDL_DRDY_EXTI8_Pin */
  GPIO_InitStruct.Pin = VL53L0X_GPIO1_EXTI7_Pin|LSM3MDL_DRDY_EXTI8_Pin;
  GPIO_InitStruct.Mode = GPIO_MODE_IT_RISING;
  GPIO_InitStruct.Pull = GPIO_NOPULL;
  HAL_GPIO_Init(GPIOC, &GPIO_InitStruct);

  /*Configure GPIO pin : PMOD_SPI2_SCK_Pin */
  GPIO_InitStruct.Pin = PMOD_SPI2_SCK_Pin;
  GPIO_InitStruct.Mode = GPIO_MODE_AF_PP;
  GPIO_InitStruct.Pull = GPIO_NOPULL;
  GPIO_InitStruct.Speed = GPIO_SPEED_FREQ_VERY_HIGH;
  GPIO_InitStruct.Alternate = GPIO_AF5_SPI2;
  HAL_GPIO_Init(PMOD_SPI2_SCK_GPIO_Port, &GPIO_InitStruct);

  /*Configure GPIO pins : PMOD_UART2_CTS_Pin PMOD_UART2_RTS_Pin PMOD_UART2_TX_Pin PMOD_UART2_RX_Pin */
  GPIO_InitStruct.Pin = PMOD_UART2_CTS_Pin|PMOD_UART2_RTS_Pin|PMOD_UART2_TX_Pin|PMOD_UART2_RX_Pin;
  GPIO_InitStruct.Mode = GPIO_MODE_AF_PP;
  GPIO_InitStruct.Pull = GPIO_NOPULL;
  GPIO_InitStruct.Speed = GPIO_SPEED_FREQ_VERY_HIGH;
  GPIO_InitStruct.Alternate = GPIO_AF7_USART2;
  HAL_GPIO_Init(GPIOD, &GPIO_InitStruct);

  /*Configure GPIO pins : ARD_D15_Pin ARD_D14_Pin */
  GPIO_InitStruct.Pin = ARD_D15_Pin|ARD_D14_Pin;
  GPIO_InitStruct.Mode = GPIO_MODE_AF_OD;
  GPIO_InitStruct.Pull = GPIO_NOPULL;
  GPIO_InitStruct.Speed = GPIO_SPEED_FREQ_VERY_HIGH;
  GPIO_InitStruct.Alternate = GPIO_AF4_I2C1;
  HAL_GPIO_Init(GPIOB, &GPIO_InitStruct);

  /* EXTI interrupt init*/
  HAL_NVIC_SetPriority(EXTI9_5_IRQn, 0, 0);
  HAL_NVIC_EnableIRQ(EXTI9_5_IRQn);

  HAL_NVIC_SetPriority(EXTI15_10_IRQn, 0, 0);
  HAL_NVIC_EnableIRQ(EXTI15_10_IRQn);

}

void Error_Handler(void)
{
  __disable_irq();
  while (1)
  {
  }
}
